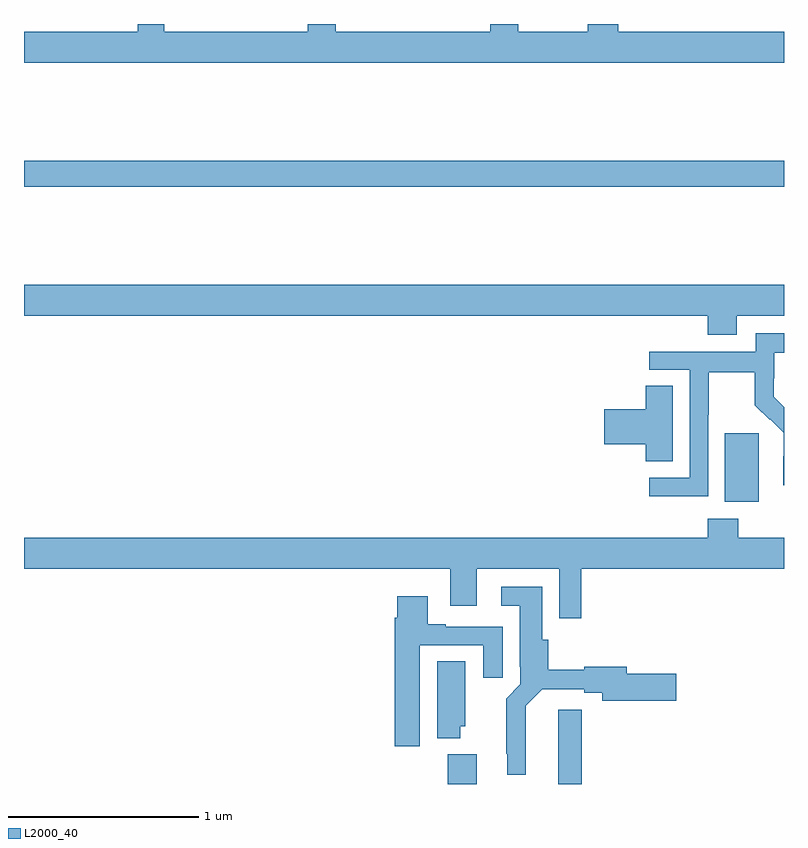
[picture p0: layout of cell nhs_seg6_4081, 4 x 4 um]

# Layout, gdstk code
import gdstk
lib = gdstk.Library(unit=1e-6, precision=1e-09)
def R(c, l, rs):  # rectangles x0, y0, x1, y1
    for r in rs: c.add(gdstk.rectangle(r[:2], r[2:], *l))
def P(c, l, *ps):  # polygons
    for p in ps: c.add(gdstk.Polygon(p, *l))
L2000_40 = (2000, 40)

nhs_seg6_4081 = lib.new_cell('nhs_seg6_4081')
R(nhs_seg6_4081, L2000_40, [(353.231,983.5,353.383,983.656), (353.813,983.5,353.936,983.89), (354.689,984.986,354.868,985.347), (351,986.644,355,986.78)])
P(nhs_seg6_4081, L2000_40, [(355,987.46),(354.128,987.46),(354.128,987.5),(353.968,987.5),(353.968,987.46),(353.601,987.46),(353.601,987.5),(353.454,987.5),(353.454,987.46),(352.641,987.46),(352.641,987.5),(352.493,987.5),(352.493,987.46),(351.739,987.46),(351.739,987.5),(351.599,987.5),(351.599,987.46),(351,987.46),(351,987.296),(355,987.296)],
  [(354.751,985.964),(355,985.964),(355,986.128),(351,986.128),(351,985.964),(354.599,985.964),(354.599,985.865),(354.751,985.865)],
  [(354.6,985.444),(354.603,985.444),(354.603,985.668),(354.847,985.668),(354.847,985.493),(354.924,985.416),(354.927,985.419),(354.998,985.349),(354.998,985.226),(354.996,985.226),(354.996,985.072),(355,985.072),(355,985.484),(354.946,985.538),(354.946,985.635),(354.948,985.635),(354.948,985.769),(355,985.769),(355,985.873),(354.852,985.873),(354.852,985.776),(354.291,985.776),(354.291,985.68),(354.504,985.68),(354.504,985.113),(354.291,985.113),(354.291,985.015),(354.6,985.015)],
  [(354.415,985.595),(354.272,985.595),(354.272,985.472),(354.054,985.472),(354.054,985.289),(354.272,985.289),(354.272,985.198),(354.415,985.198)],
  [(353.933,984.632),(355,984.632),(355,984.796),(354.759,984.796),(354.759,984.895),(354.599,984.895),(354.599,984.796),(351,984.796),(351,984.632),(353.243,984.632),(353.243,984.438),(353.383,984.438),(353.383,984.632),(353.817,984.632),(353.817,984.372),(353.933,984.372)],
  [(353.641,983.912),(353.728,984),(353.948,984),(353.948,983.98),(354.044,983.98),(354.044,983.938),(354.433,983.938),(354.433,984.08),(354.172,984.08),(354.172,984.116),(353.948,984.116),(353.948,984.101),(353.759,984.101),(353.759,984.258),(353.728,984.258),(353.728,984.538),(353.511,984.538),(353.511,984.437),(353.609,984.437),(353.609,984.118),(353.613,984.118),(353.613,984.024),(353.539,983.95),(353.539,983.659),(353.543,983.659),(353.543,983.549),(353.641,983.549)],
  [(353.083,984.231),(353.417,984.231),(353.417,984.06),(353.521,984.06),(353.521,984.327),(353.221,984.327),(353.221,984.34),(353.125,984.34),(353.125,984.487),(352.964,984.487),(352.964,984.374),(352.952,984.374),(352.952,983.7),(353.083,983.7)],
  [(353.296,983.805),(353.323,983.805),(353.323,984.146),(353.174,984.146),(353.174,983.741),(353.296,983.741)])

lib.write_gds('nhs_seg6_4081.gds')
